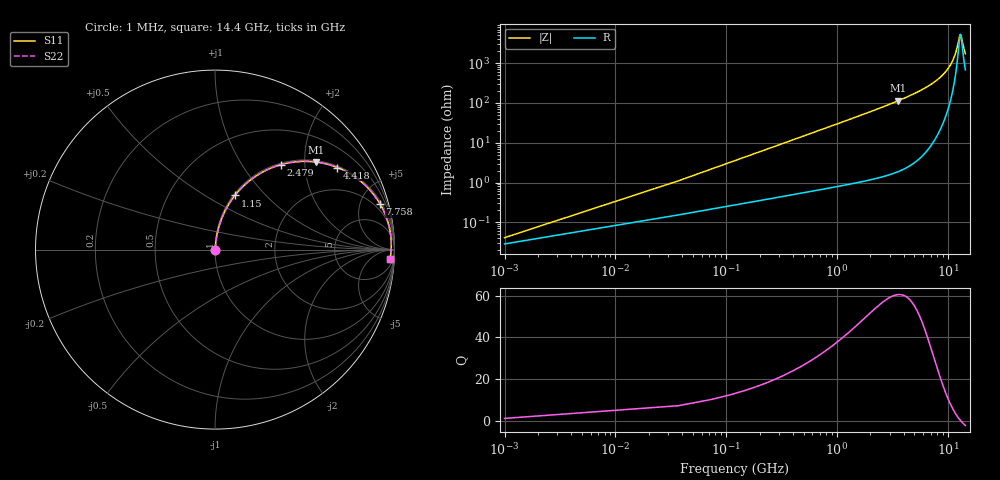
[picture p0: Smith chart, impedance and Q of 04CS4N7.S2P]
! Coilcraft 0402CS-4N7 Chip Inductor
! 22 July 2002
# MHZ S MA R 50
!Freq  MagS11  AngS11  MagS21  AngS21  MagS12  AngS12  MagS22  AngS22
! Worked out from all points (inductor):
!   402 points, 1 MHz to 14.4 GHz, reference 50 ohm
!   read as one part in series: L = 4.7 nH near 72.82 MHz
!   highest Q = 60.5 at 3.556 GHz (marker M1), where L = 5.08 nH
!   self-resonance near 13.01 GHz
!   S11 on the Smith chart (normalised r, x): 1 MHz: 1.00, +0.00; 1.15 GHz: 1.02, +0.68; 2.479 GHz: 1.03, +1.52; 4.418 GHz: 1.05, +2.95; 7.758 GHz: 1.26, +7.11; 14.4 GHz: 15, -32
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1  0.0004103 46.0  0.9997 -0.0  0.9997 -0.0  0.0004103 46.0
108.73  0.03212 83.5  0.9969 -1.8  0.9969 -1.8  0.03212 83.5
144.64  0.04266 83.6  0.9961 -2.4  0.9961 -2.4  0.04266 83.6
216.46  0.06368 83.1  0.9944 -3.6  0.9944 -3.6  0.06368 83.1
360.1  0.1054 81.4  0.9898 -6.0  0.9898 -6.0  0.1054 81.4
539.65  0.1569 78.9  0.982 -9.0  0.982 -9.0  0.1569 78.9
791.02  0.2269 75.2  0.9672 -13.1  0.9672 -13.1  0.2269 75.2
1150.12  0.3215 69.8  0.939 -18.7  0.939 -18.7  0.3215 69.8
1688.77  0.4487 62.2  0.8844 -26.7  0.8844 -26.7  0.4487 62.2
2406.97  0.5878 53.0  0.7985 -36.0  0.7985 -36.0  0.5878 53.0
2478.79  0.5999 52.1  0.7895 -36.9  0.7895 -36.9  0.5999 52.1
3556.09  0.7444 41.0  0.6556 -48.1  0.6556 -48.1  0.7444 41.0
4417.93  0.8213 33.8  0.5566 -55.2  0.5566 -55.2  0.8213 33.8
4812.94  0.8482 31.0  0.5148 -58.0  0.5148 -58.0  0.8482 31.0
7218.91  0.9429 17.8  0.3057 -70.5  0.3057 -70.5  0.9429 17.8
7757.56  0.9538 15.5  0.2679 -72.4  0.2679 -72.4  0.9538 15.5
9624.88  0.9759 8.9  0.1554 -76.7  0.1554 -76.7  0.9759 8.9
11025.37  0.982 4.9  0.08579 -75.5  0.08579 -75.5  0.982 4.9
12030.85  0.9828 2.3  0.043 -65.3  0.043 -65.3  0.9828 2.3
12749.05  0.982 0.6  0.02063 -28.8  0.02063 -28.8  0.982 0.6
13000.42  0.9814 0.0  0.01855 -0.5  0.01855 -0.5  0.9814 0.0
14400  0.9767 -3.0  0.05611 64.0  0.05611 64.0  0.9767 -3.0
